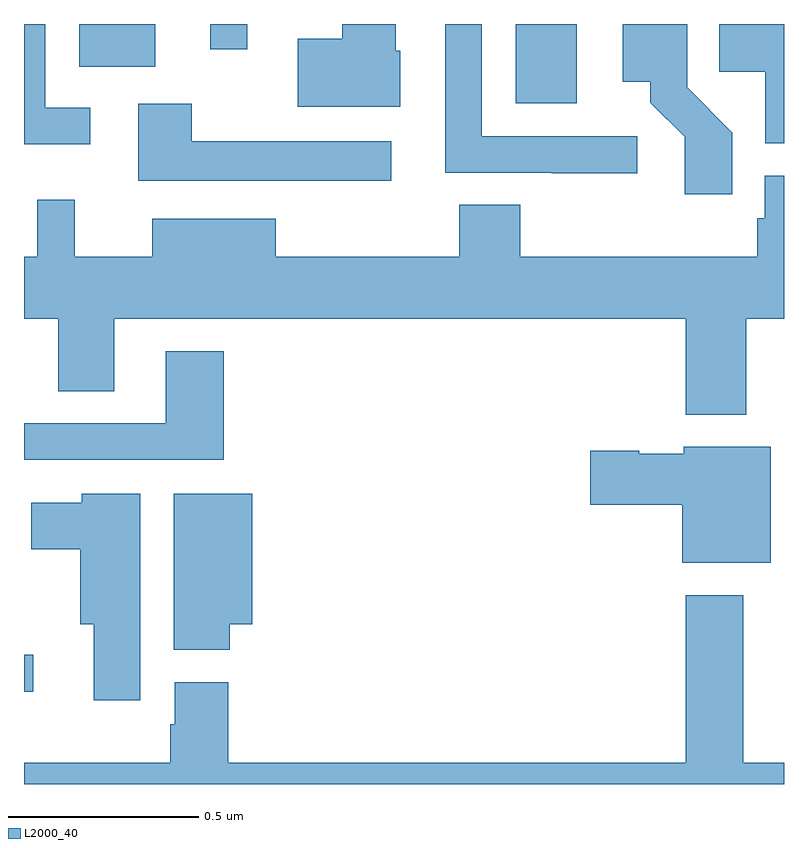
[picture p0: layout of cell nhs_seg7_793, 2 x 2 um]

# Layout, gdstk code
import gdstk
lib = gdstk.Library(unit=1e-6, precision=1e-09)
def R(c, l, rs):  # rectangles x0, y0, x1, y1
    for r in rs: c.add(gdstk.rectangle(r[:2], r[2:], *l))
def P(c, l, *ps):  # polygons
    for p in ps: c.add(gdstk.Polygon(p, *l))
L2000_40 = (2000, 40)

nhs_seg7_793 = lib.new_cell('nhs_seg7_793')
R(nhs_seg7_793, L2000_40, [(121,1058.243,121.024,1058.34), (122.294,1059.792,122.455,1060), (121.145,1059.887,121.345,1060), (121.49,1059.933,121.588,1060)])
P(nhs_seg7_793, L2000_40, [(121.174,1059.78),(121.056,1059.78),(121.056,1060),(121,1060),(121,1059.683),(121.174,1059.683)],
  [(123,1060),(122.83,1060),(122.83,1059.874),(122.951,1059.874),(122.951,1059.686),(123,1059.686)],
  [(122.864,1059.714),(122.745,1059.833),(122.745,1060),(122.576,1060),(122.576,1059.848),(122.648,1059.848),(122.648,1059.793),(122.739,1059.703),(122.739,1059.552),(122.864,1059.552)],
  [(121.99,1059.93),(121.978,1059.93),(121.978,1060),(121.838,1060),(121.838,1059.961),(121.721,1059.961),(121.721,1059.782),(121.99,1059.782)],
  [(122.614,1059.705),(122.205,1059.705),(122.205,1060),(122.109,1060),(122.109,1059.609),(122.389,1059.609),(122.389,1059.607),(122.614,1059.607)],
  [(121.966,1059.691),(121.441,1059.691),(121.441,1059.79),(121.301,1059.79),(121.301,1059.587),(121.966,1059.587)],
  [(122.901,1059.224),(123,1059.224),(123,1059.601),(122.949,1059.601),(122.949,1059.489),(122.929,1059.489),(122.929,1059.388),(122.306,1059.388),(122.306,1059.524),(122.146,1059.524),(122.146,1059.388),(121.663,1059.388),(121.663,1059.487),(121.337,1059.487),(121.337,1059.388),(121.133,1059.388),(121.133,1059.538),(121.035,1059.538),(121.035,1059.388),(121,1059.388),(121,1059.224),(121.09,1059.224),(121.09,1059.034),(121.237,1059.034),(121.237,1059.224),(122.741,1059.224),(122.741,1058.972),(122.901,1058.972)],
  [(121.526,1059.139),(121.373,1059.139),(121.373,1058.949),(121,1058.949),(121,1058.853),(121.526,1058.853)],
  [(122.965,1058.887),(122.736,1058.887),(122.736,1058.869),(122.619,1058.869),(122.619,1058.877),(122.49,1058.877),(122.49,1058.735),(122.732,1058.735),(122.732,1058.582),(122.965,1058.582)],
  [(121.306,1058.764),(121.152,1058.764),(121.152,1058.74),(121.019,1058.74),(121.019,1058.618),(121.148,1058.618),(121.148,1058.42),(121.184,1058.42),(121.184,1058.22),(121.306,1058.22)],
  [(121.541,1058.42),(121.6,1058.42),(121.6,1058.764),(121.394,1058.764),(121.394,1058.353),(121.541,1058.353)],
  [(123,1058.056),(122.893,1058.056),(122.893,1058.497),(122.741,1058.497),(122.741,1058.056),(121.538,1058.056),(121.538,1058.268),(121.397,1058.268),(121.397,1058.157),(121.385,1058.157),(121.385,1058.056),(121,1058.056),(121,1058),(123,1058)])

lib.write_gds('nhs_seg7_793.gds')
